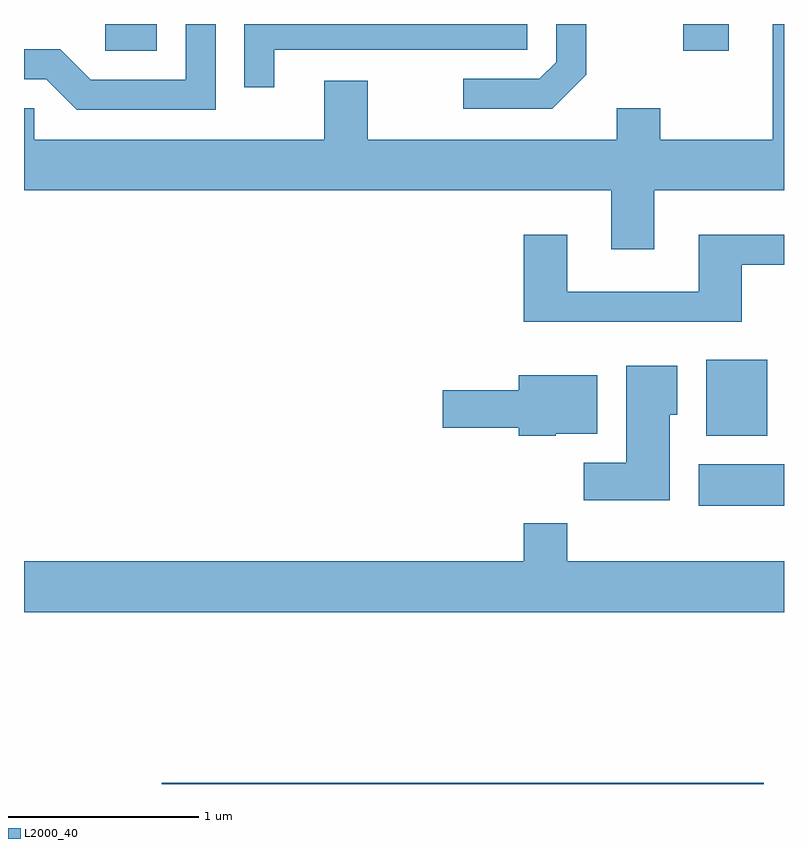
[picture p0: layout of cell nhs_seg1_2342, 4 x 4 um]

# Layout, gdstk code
import gdstk
lib = gdstk.Library(unit=1e-6, precision=1e-09)
def R(c, l, rs):  # rectangles x0, y0, x1, y1
    for r in rs: c.add(gdstk.rectangle(r[:2], r[2:], *l))
def P(c, l, *ps):  # polygons
    for p in ps: c.add(gdstk.Polygon(p, *l))
L2000_40 = (2000, 40)

nhs_seg1_2342 = lib.new_cell('nhs_seg1_2342')
R(nhs_seg1_2342, L2000_40, [(256.336,969.712,259.504,969.719), (259.161,971.176,259.611,971.394), (259.201,971.546,259.524,971.944), (256.038,973.571,256.309,973.712), (259.082,973.571,259.319,973.712)])
P(nhs_seg1_2342, L2000_40, [(258.929,972.836),(259.611,972.836),(259.611,973.712),(259.551,973.712),(259.551,973.104),(258.959,973.104),(258.959,973.269),(258.731,973.269),(258.731,973.104),(257.419,973.104),(257.419,973.414),(257.191,973.414),(257.191,973.104),(255.664,973.104),(255.664,973.269),(255.611,973.269),(255.611,972.836),(258.701,972.836),(258.701,972.526),(258.929,972.526)],
  [(256.929,973.576),(258.259,973.576),(258.259,973.712),(256.771,973.712),(256.771,973.378),(256.929,973.378)],
  [(256.619,973.712),(256.461,973.712),(256.461,973.419),(255.962,973.419),(255.802,973.579),(255.611,973.579),(255.611,973.421),(255.729,973.421),(255.889,973.261),(256.619,973.261)],
  [(258.569,973.444),(258.569,973.712),(258.411,973.712),(258.411,973.512),(258.324,973.424),(257.923,973.424),(257.923,973.266),(258.392,973.266)],
  [(259.389,972.446),(259.611,972.446),(259.611,972.604),(259.161,972.604),(259.161,972.304),(258.469,972.304),(258.469,972.604),(258.241,972.604),(258.241,972.146),(259.389,972.146)],
  [(259.009,971.656),(259.049,971.656),(259.049,971.914),(258.781,971.914),(258.781,971.404),(258.556,971.404),(258.556,971.206),(259.009,971.206)],
  [(258.41,971.556),(258.629,971.556),(258.629,971.864),(258.216,971.864),(258.216,971.784),(257.816,971.784),(257.816,971.586),(258.216,971.586),(258.216,971.546),(258.41,971.546)],
  [(259.611,970.884),(258.469,970.884),(258.469,971.084),(258.241,971.084),(258.241,970.884),(255.611,970.884),(255.611,970.616),(259.611,970.616)])

lib.write_gds('nhs_seg1_2342.gds')
